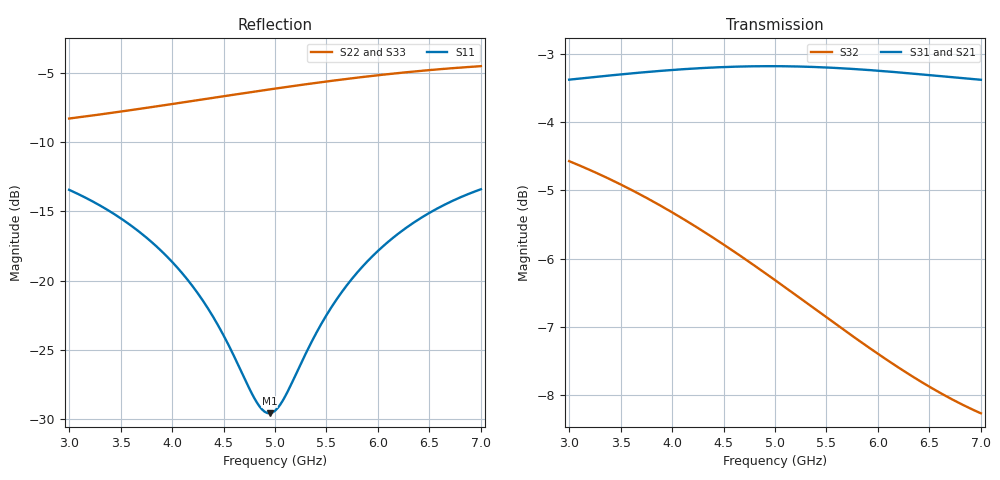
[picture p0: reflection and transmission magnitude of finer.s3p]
! yapnr rf: divider-osh-m-star-m-eq-em528-fwd, footprint re-simulated (refine 3)
! spec sha256 a6c9cba661ca0dbccc1f7d9229f05d41a04f69e623f1cdef836865e2462231a1
! 3 ports renormalized to 50 ohm, e^(+jwt) convention
# GHz S RI R 50
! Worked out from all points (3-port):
!   161 points, 3 GHz to 7 GHz, reference 50 ohm
!   strongest paths, dB at 3 GHz, 4 GHz, 5 GHz, 6 GHz, 7 GHz:
!     S31: -3.4, -3.2, -3.2, -3.2, -3.4
!     S21: -3.4, -3.2, -3.2, -3.2, -3.4
!     S32: -4.6, -5.3, -6.3, -7.4, -8.3
!   lowest |S11| = -29.6 dB at 4.95 GHz (marker M1), VSWR 1.07, Z = 46.8 + j0.328 ohm
!   |S11| at or under -10 dB: start of sweep to end of sweep
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3  -0.1468 0.1541  0.0842 -0.6726  0.0842 -0.6726
   0.0842 -0.6725  0.0757 0.3778  -0.1723 -0.5651
   0.0842 -0.6725  -0.1723 -0.5651  0.0757 0.3778
4.05  -0.0563 0.0962  -0.27 -0.6344  -0.27 -0.6344
      -0.27 -0.6343  0.3285 0.2891  -0.4317 -0.3232
      -0.27 -0.6343  -0.4317 -0.3232  0.3285 0.2891
4.4  -0.0391 0.0626  -0.3796 -0.5785  -0.3796 -0.5785
     -0.3796 -0.5784  0.4002 0.2225  -0.47 -0.2209
     -0.3796 -0.5784  -0.47 -0.2209  0.4002 0.2225
4.825  -0.0319 0.0171  -0.4966 -0.4839  -0.4966 -0.4839
       -0.4966 -0.4838  0.4684 0.1202  -0.4842 -0.0979
       -0.4966 -0.4838  -0.4842 -0.0979  0.4684 0.1202
4.95  -0.0329 0.0035  -0.5267 -0.4511  -0.5267 -0.4511
      -0.5266 -0.451  0.4836 0.0865  -0.4824 -0.0634
      -0.5266 -0.451  -0.4824 -0.0634  0.4836 0.0865
5  -0.0337 -0.00189  -0.5381 -0.4375  -0.5381 -0.4375
   -0.538 -0.4374  0.489 0.0726  -0.4809 -0.0499
   -0.538 -0.4374  -0.4809 -0.0499  0.489 0.0726
5.5  -0.0545 -0.0515  -0.6299 -0.2862  -0.6299 -0.2862
     -0.6299 -0.2862  0.5192 -0.0749  -0.4482 0.0732
     -0.6299 -0.2862  -0.4482 0.0732  0.5192 -0.0749
5.875  -0.0831 -0.0794  -0.6703 -0.1608  -0.6703 -0.1608
       -0.6702 -0.1607  0.512 -0.1894  -0.4071 0.149
       -0.6702 -0.1607  -0.4071 0.149  0.512 -0.1894
6.375  -0.1324 -0.0976  -0.6843 0.0116  -0.6843 0.0116
       -0.6842 0.0117  0.463 -0.3345  -0.3402 0.2276
       -0.6842 0.0117  -0.3402 0.2276  0.463 -0.3345
7  -0.1966 -0.0841  -0.6417 0.2182  -0.6417 0.2182
   -0.6416 0.2182  0.3482 -0.4837  -0.2492 0.2952
   -0.6416 0.2182  -0.2492 0.2952  0.3482 -0.4837
